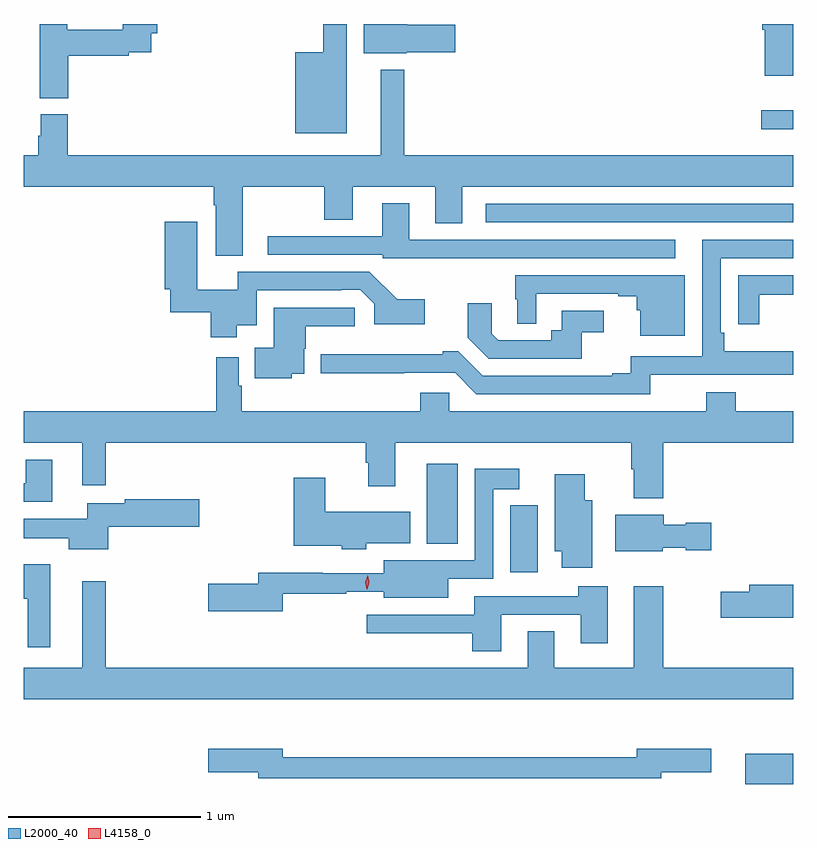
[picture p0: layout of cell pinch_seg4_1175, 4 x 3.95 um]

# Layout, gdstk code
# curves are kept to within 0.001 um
import gdstk
lib = gdstk.Library(unit=1e-6, precision=1e-09)
def R(c, l, rs):  # rectangles x0, y0, x1, y1
    for r in rs: c.add(gdstk.rectangle(r[:2], r[2:], *l))
def P(c, l, *ps):  # polygons
    for p in ps: c.add(gdstk.Polygon(p, *l))
L2000_40 = (2000, 40)
L4158_0 = (4158, 0)

pinch_seg4_1175 = lib.new_cell('pinch_seg4_1175')
R(pinch_seg4_1175, L2000_40, [(546.417,753.755,546.666,753.913), (545.195,754.857,545.338,755.203), (544.76,755.003,544.921,755.419), (545.067,756.675,546.666,756.771), (546.501,757.16,546.666,757.257)])
P(pinch_seg4_1175, L2000_40, [(546.666,757.706),(546.506,757.706),(546.506,757.676),(546.518,757.676),(546.518,757.436),(546.666,757.436)],
  [(544.656,757.559),(544.909,757.559),(544.909,757.701),(544.66,757.701),(544.66,757.706),(544.433,757.706),(544.433,757.553),(544.656,757.553)],
  [(542.897,757.54),(543.212,757.54),(543.212,757.56),(543.329,757.56),(543.329,757.658),(543.359,757.658),(543.359,757.706),(543.181,757.706),(543.181,757.676),(542.892,757.676),(542.892,757.706),(542.75,757.706),(542.75,757.321),(542.897,757.321)],
  [(544.345,757.706),(544.224,757.706),(544.224,757.558),(544.076,757.558),(544.076,757.139),(544.345,757.139)],
  [(543.805,756.86),(544.228,756.86),(544.228,756.688),(544.375,756.688),(544.375,756.86),(544.805,756.86),(544.805,756.67),(544.945,756.67),(544.945,756.86),(546.666,756.86),(546.666,757.024),(544.645,757.024),(544.645,757.468),(544.523,757.468),(544.523,757.024),(542.894,757.024),(542.894,757.236),(542.753,757.236),(542.753,757.125),(542.741,757.125),(542.741,757.024),(542.666,757.024),(542.666,756.86),(543.653,756.86),(543.653,756.764),(543.665,756.764),(543.665,756.502),(543.805,756.502)],
  [(545.135,756.489),(546.052,756.489),(546.052,756.585),(544.669,756.585),(544.669,756.775),(544.529,756.775),(544.529,756.603),(543.933,756.603),(543.933,756.507),(544.533,756.507),(544.533,756.488),(544.933,756.488),(544.933,756.487),(545.135,756.487)],
  [(543.772,756.14),(543.876,756.14),(543.876,756.321),(544.316,756.321),(544.316,756.324),(544.416,756.324),(544.488,756.252),(544.488,756.146),(544.75,756.146),(544.75,756.274),(544.608,756.274),(544.537,756.346),(544.535,756.344),(544.462,756.417),(543.779,756.417),(543.779,756.325),(543.568,756.325),(543.568,756.679),(543.398,756.679),(543.398,756.326),(543.428,756.326),(543.428,756.208),(543.638,756.208),(543.638,756.078),(543.772,756.078)],
  [(545.924,755.882),(546.666,755.882),(546.666,756.004),(546.308,756.004),(546.308,756.1),(546.288,756.1),(546.288,756.489),(546.666,756.489),(546.666,756.585),(546.192,756.585),(546.192,755.979),(545.821,755.979),(545.821,755.89),(545.726,755.89),(545.726,755.877),(545.052,755.877),(544.925,756.004),(544.844,756.004),(544.844,755.989),(544.209,755.989),(544.209,755.891),(544.908,755.892),(545.019,755.781),(545.924,755.781)],
  [(546.49,756.298),(546.666,756.298),(546.666,756.399),(546.381,756.399),(546.381,756.144),(546.49,756.144)],
  [(546.103,756.399),(545.22,756.399),(545.22,756.276),(545.231,756.276),(545.231,756.148),(545.329,756.148),(545.329,756.303),(545.756,756.303),(545.756,756.291),(545.852,756.291),(545.852,756.219),(545.87,756.219),(545.87,756.086),(546.103,756.086)],
  [(545.566,756.104),(545.68,756.104),(545.68,756.214),(545.462,756.214),(545.462,756.115),(545.408,756.115),(545.408,756.063),(545.133,756.063),(545.1,756.096),(545.1,756.253),(544.974,756.253),(544.974,756.076),(545.082,755.967),(545.566,755.967)],
  [(544.059,755.888),(544.123,755.888),(544.123,756.018),(544.131,756.018),(544.131,756.134),(544.387,756.134),(544.387,756.231),(543.965,756.231),(543.965,756.022),(543.868,756.022),(543.868,755.865),(544.059,755.865)],
  [(543.798,755.825),(543.783,755.825),(543.783,755.974),(543.667,755.974),(543.667,755.692),(542.666,755.692),(542.666,755.528),(542.969,755.528),(542.969,755.307),(543.091,755.307),(543.091,755.528),(544.445,755.528),(544.445,755.424),(544.457,755.424),(544.457,755.304),(544.597,755.304),(544.597,755.528),(545.825,755.528),(545.825,755.39),(545.837,755.39),(545.837,755.24),(545.99,755.24),(545.99,755.528),(546.666,755.528),(546.666,755.692),(546.368,755.692),(546.368,755.791),(546.215,755.791),(546.215,755.692),(544.878,755.692),(544.878,755.79),(544.727,755.79),(544.727,755.692),(543.798,755.692)],
  [(542.815,755.44),(542.675,755.44),(542.675,755.319),(542.666,755.319),(542.666,755.223),(542.815,755.223)],
  [(544.012,754.743),(544.342,754.743),(544.342,754.755),(544.538,754.755),(544.538,754.724),(544.873,754.724),(544.873,754.821),(545.106,754.821),(545.106,755.288),(545.242,755.288),(545.242,755.395),(545.01,755.395),(545.01,754.917),(544.764,754.917),(544.764,754.918),(544.538,754.918),(544.538,754.851),(544.22,754.851),(544.22,754.852),(543.884,754.852),(543.884,754.796),(543.624,754.796),(543.624,754.654),(544.012,754.654)],
  [(545.62,755.23),(545.581,755.23),(545.581,755.365),(545.426,755.365),(545.426,754.964),(545.462,754.964),(545.462,754.878),(545.62,754.878)],
  [(544.446,755.006),(544.675,755.006),(544.675,755.17),(544.234,755.17),(544.234,755.347),(544.069,755.347),(544.069,754.994),(544.32,754.994),(544.32,754.976),(544.446,754.976)],
  [(543.106,755.093),(543.577,755.093),(543.577,755.235),(543.192,755.235),(543.192,755.215),(542.996,755.215),(542.996,755.134),(542.666,755.134),(542.666,755.033),(542.9,755.033),(542.9,754.976),(543.106,754.976)],
  [(545.988,754.982),(546.108,754.982),(546.108,754.97),(546.241,754.97),(546.241,755.112),(546.108,755.112),(546.108,755.104),(545.992,755.104),(545.992,755.155),(545.741,755.155),(545.741,754.964),(545.988,754.964)],
  [(542.803,754.897),(542.666,754.897),(542.666,754.718),(542.687,754.718),(542.687,754.467),(542.803,754.467)],
  [(546.666,754.36),(545.99,754.36),(545.99,754.783),(545.837,754.783),(545.837,754.36),(545.425,754.36),(545.425,754.55),(545.285,754.55),(545.285,754.36),(543.091,754.36),(543.091,754.81),(542.969,754.81),(542.969,754.36),(542.666,754.36),(542.666,754.196),(546.666,754.196)],
  [(546.666,754.79),(546.437,754.79),(546.437,754.754),(546.288,754.754),(546.288,754.619),(546.666,754.619)],
  [(545.149,754.635),(545.561,754.635),(545.561,754.488),(545.701,754.488),(545.701,754.783),(545.549,754.783),(545.549,754.731),(545.009,754.731),(545.009,754.635),(544.449,754.635),(544.449,754.538),(544.997,754.538),(544.997,754.446),(545.149,754.446)],
  [(545.98,753.815),(546.241,753.815),(546.241,753.937),(545.852,753.937),(545.852,753.895),(544.012,753.895),(544.012,753.937),(543.624,753.937),(543.624,753.815),(543.884,753.815),(543.884,753.786),(545.98,753.786)])
P(pinch_seg4_1175, L4158_0, [(544.45,754.767),(544.45,754.767),(544.442,754.803),(544.453,754.839),(544.453,754.839),(544.453,754.839),(544.462,754.803),(544.451,754.767)])

lib.write_gds('pinch_seg4_1175.gds')
